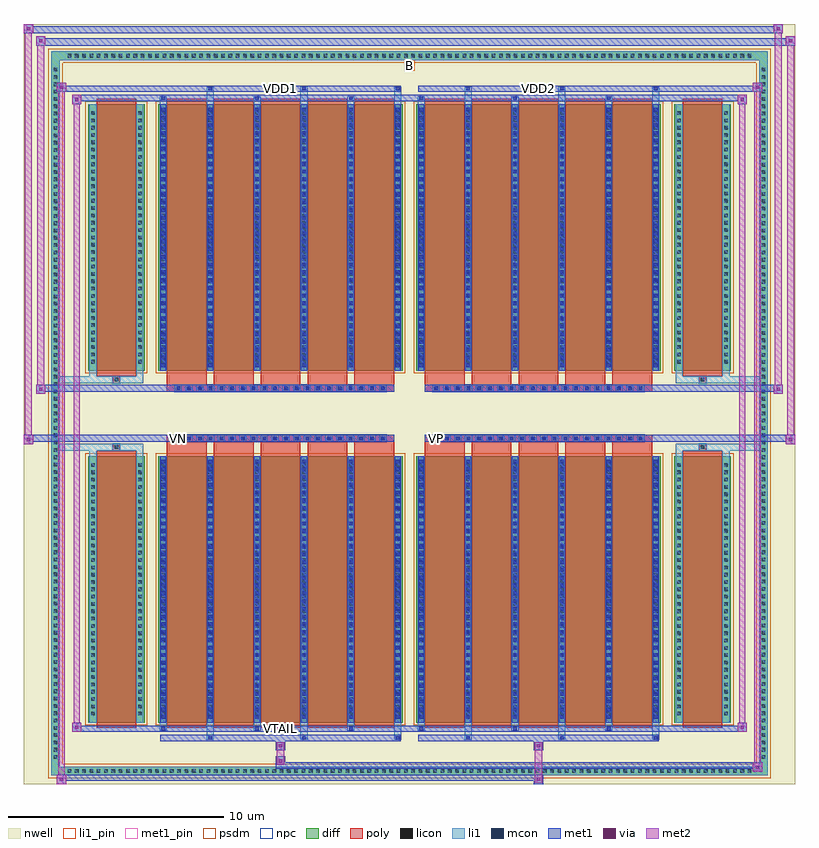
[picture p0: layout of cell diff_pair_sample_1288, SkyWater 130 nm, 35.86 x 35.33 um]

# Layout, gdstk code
import gdstk
lib = gdstk.Library(unit=1e-6, precision=5e-09)
def R(c, l, rs):  # rectangles x0, y0, x1, y1
    for r in rs: c.add(gdstk.rectangle(r[:2], r[2:], *l))
def A(c, l, x, y, w, h, nx, ny, dx, dy):  # array of equal rectangles
    R(c, l, [(x+i*dx, y+j*dy, x+i*dx+w, y+j*dy+h) for i in range(nx) for j in range(ny)])
def P(c, l, *ps):  # polygons
    for p in ps: c.add(gdstk.Polygon(p, *l))
nwell = (64, 20)
diff = (65, 20)
poly = (66, 20)
licon = (66, 44)
li1_pin = (67, 16)
li1 = (67, 20)
mcon = (67, 44)
met1_pin = (68, 16)
met1 = (68, 20)
via = (68, 44)
met2 = (69, 20)
psdm = (94, 20)
npc = (95, 20)

diff_pair_sample_1288 = lib.new_cell('diff_pair_sample_1288')
R(diff_pair_sample_1288, nwell, [(-17.93,-17.23,17.93,18.1), (-15.25,-15.42,-0.01,-0.8), (0.01,-15.42,15.25,-0.8), (-15.25,0.8,-0.01,15.42), (0.01,0.8,15.25,15.42)])
A(diff_pair_sample_1288, diff, -16.015, -16.83, 0.41, 0.41, 94, 2, 0.34, 33.25)
A(diff_pair_sample_1288, diff, -16.66, -16.185, 0.41, 0.41, 1, 95, 0, 0.34)
A(diff_pair_sample_1288, diff, 16.25, -16.185, 0.41, 0.41, 1, 95, 0, 0.34)
R(diff_pair_sample_1288, diff, [(-16.015,-16.83,16.015,-16.42), (-16.66,-16.185,-16.25,16.185), (16.25,-16.185,16.66,16.185), (-14.94,-14.375,-12.31,-1.985), (-11.67,-14.375,-0.32,-1.985), (0.32,-14.375,11.67,-1.985), (12.31,-14.375,14.94,-1.985), (-14.94,1.985,-12.31,14.375), (-11.67,1.985,-0.32,14.375), (0.32,1.985,11.67,14.375), (12.31,1.985,14.94,14.375), (-16.015,16.42,16.015,16.83)])
P(diff_pair_sample_1288, diff, [(16.66,16.83),(-16.66,16.83),(-16.66,-16.42),(-16.25,-16.42),(-16.25,16.42),(16.25,16.42),(16.25,-16.42),(-16.25,-16.42),(-16.66,-16.42),(-16.66,-16.83),(16.66,-16.83)])
A(diff_pair_sample_1288, poly, -11.28, -14.625, 1.85, 12.89, 5, 2, 2.18, 16.36)
A(diff_pair_sample_1288, poly, 0.71, -14.625, 1.85, 12.89, 5, 2, 2.18, 16.36)
A(diff_pair_sample_1288, poly, -11.28, -1.735, 1.85, 0.405, 5, 2, 2.18, 3.065)
A(diff_pair_sample_1288, poly, 0.71, -1.735, 1.85, 0.405, 5, 2, 2.18, 3.065)
A(diff_pair_sample_1288, poly, -10.91, -1.33, 0.33, 0.33, 20, 2, 0.5, 2.33)
A(diff_pair_sample_1288, poly, 1.08, -1.33, 0.33, 0.33, 20, 2, 0.5, 2.33)
R(diff_pair_sample_1288, poly, [(-14.55,-14.625,-12.7,-1.735), (12.7,-14.625,14.55,-1.735), (-13.79,-1.735,-13.46,-1.405), (-13.79,-1.735,-13.46,-1.405), (13.46,-1.735,13.79,-1.405), (13.46,-1.735,13.79,-1.405), (-11.28,-1.33,-0.71,-1), (0.71,-1.33,11.28,-1), (-11.28,1,-0.71,1.33), (0.71,1,11.28,1.33), (-13.79,1.405,-13.46,1.735), (-13.79,1.405,-13.46,1.735), (13.46,1.405,13.79,1.735), (13.46,1.405,13.79,1.735), (-14.55,1.735,-12.7,14.625), (12.7,1.735,14.55,14.625)])
A(diff_pair_sample_1288, licon, -15.895, -16.71, 0.17, 0.17, 94, 2, 0.34, 33.25)
A(diff_pair_sample_1288, licon, -16.54, -16.065, 0.17, 0.17, 1, 95, 0, 0.34)
A(diff_pair_sample_1288, licon, 16.37, -16.065, 0.17, 0.17, 1, 95, 0, 0.34)
A(diff_pair_sample_1288, licon, -14.8, -14.045, 0.17, 0.17, 1, 35, 0, 0.34)
A(diff_pair_sample_1288, licon, -12.62, -14.045, 0.17, 0.17, 1, 35, 0, 0.34)
A(diff_pair_sample_1288, licon, -11.53, -14.045, 0.17, 0.17, 6, 35, 2.18, 0.34)
A(diff_pair_sample_1288, licon, 0.46, -14.045, 0.17, 0.17, 6, 35, 2.18, 0.34)
A(diff_pair_sample_1288, licon, 12.45, -14.045, 0.17, 0.17, 1, 35, 0, 0.34)
A(diff_pair_sample_1288, licon, 14.63, -14.045, 0.17, 0.17, 1, 35, 0, 0.34)
A(diff_pair_sample_1288, licon, -10.83, -1.25, 0.17, 0.17, 20, 2, 0.5, 2.33)
A(diff_pair_sample_1288, licon, 1.16, -1.25, 0.17, 0.17, 20, 2, 0.5, 2.33)
A(diff_pair_sample_1288, licon, -14.8, 2.315, 0.17, 0.17, 1, 35, 0, 0.34)
A(diff_pair_sample_1288, licon, -12.62, 2.315, 0.17, 0.17, 1, 35, 0, 0.34)
A(diff_pair_sample_1288, licon, -11.53, 2.315, 0.17, 0.17, 6, 35, 2.18, 0.34)
A(diff_pair_sample_1288, licon, 0.46, 2.315, 0.17, 0.17, 6, 35, 2.18, 0.34)
A(diff_pair_sample_1288, licon, 12.45, 2.315, 0.17, 0.17, 1, 35, 0, 0.34)
A(diff_pair_sample_1288, licon, 14.63, 2.315, 0.17, 0.17, 1, 35, 0, 0.34)
R(diff_pair_sample_1288, licon, [(-13.71,-1.655,-13.54,-1.485), (13.54,-1.655,13.71,-1.485), (-13.71,1.485,-13.54,1.655), (13.54,1.485,13.71,1.655)])
R(diff_pair_sample_1288, li1_pin, [(-0.25,15.92,0.25,16.42)])
A(diff_pair_sample_1288, li1, -15.975, -16.79, 0.33, 0.33, 94, 2, 0.34, 33.25)
A(diff_pair_sample_1288, li1, -16.62, -16.145, 0.33, 0.33, 1, 95, 0, 0.34)
A(diff_pair_sample_1288, li1, 16.29, -16.145, 0.33, 0.33, 1, 95, 0, 0.34)
A(diff_pair_sample_1288, li1, -9.43, -15.18, 0.33, 0.805, 3, 2, 4.36, 29.555)
A(diff_pair_sample_1288, li1, -9.35, -15.18, 0.17, 0.17, 3, 2, 4.36, 30.19)
A(diff_pair_sample_1288, li1, 2.56, -15.18, 0.33, 0.805, 3, 2, 4.36, 29.555)
A(diff_pair_sample_1288, li1, 2.64, -15.18, 0.17, 0.17, 3, 2, 4.36, 30.19)
A(diff_pair_sample_1288, li1, -11.61, -14.75, 0.33, 0.375, 3, 2, 4.36, 29.125)
A(diff_pair_sample_1288, li1, -11.53, -14.75, 0.17, 0.17, 3, 2, 4.36, 29.33)
A(diff_pair_sample_1288, li1, 0.38, -14.75, 0.33, 0.375, 3, 2, 4.36, 29.125)
A(diff_pair_sample_1288, li1, 0.46, -14.75, 0.17, 0.17, 3, 2, 4.36, 29.33)
A(diff_pair_sample_1288, li1, -11.61, -14.375, 0.33, 12.39, 6, 2, 2.18, 16.36)
A(diff_pair_sample_1288, li1, 0.38, -14.375, 0.33, 12.39, 6, 2, 2.18, 16.36)
A(diff_pair_sample_1288, li1, -11.53, -14.205, 0.17, 0.17, 6, 34, 2.18, 0.36)
A(diff_pair_sample_1288, li1, -11.53, -14.205, 0.17, 12.05, 6, 2, 2.18, 16.36)
A(diff_pair_sample_1288, li1, 0.46, -14.205, 0.17, 0.17, 6, 34, 2.18, 0.36)
A(diff_pair_sample_1288, li1, 0.46, -14.205, 0.17, 12.05, 6, 2, 2.18, 16.36)
A(diff_pair_sample_1288, li1, -14.88, -14.125, 0.33, 0.33, 1, 35, 0, 0.34)
A(diff_pair_sample_1288, li1, -12.7, -14.125, 0.33, 0.33, 1, 35, 0, 0.34)
A(diff_pair_sample_1288, li1, -11.61, -14.125, 0.33, 0.33, 6, 35, 2.18, 0.34)
A(diff_pair_sample_1288, li1, 0.38, -14.125, 0.33, 0.33, 6, 35, 2.18, 0.34)
A(diff_pair_sample_1288, li1, 12.37, -14.125, 0.33, 0.33, 1, 35, 0, 0.34)
A(diff_pair_sample_1288, li1, 14.55, -14.125, 0.33, 0.33, 1, 35, 0, 0.34)
A(diff_pair_sample_1288, li1, -10.91, -1.33, 0.33, 0.33, 20, 2, 0.5, 2.33)
A(diff_pair_sample_1288, li1, 1.08, -1.33, 0.33, 0.33, 20, 2, 0.5, 2.33)
A(diff_pair_sample_1288, li1, -11.53, 2.155, 0.17, 0.17, 6, 34, 2.18, 0.36)
A(diff_pair_sample_1288, li1, 0.46, 2.155, 0.17, 0.17, 6, 34, 2.18, 0.36)
A(diff_pair_sample_1288, li1, -14.88, 2.235, 0.33, 0.33, 1, 35, 0, 0.34)
A(diff_pair_sample_1288, li1, -12.7, 2.235, 0.33, 0.33, 1, 35, 0, 0.34)
A(diff_pair_sample_1288, li1, -11.61, 2.235, 0.33, 0.33, 6, 35, 2.18, 0.34)
A(diff_pair_sample_1288, li1, 0.38, 2.235, 0.33, 0.33, 6, 35, 2.18, 0.34)
A(diff_pair_sample_1288, li1, 12.37, 2.235, 0.33, 0.33, 1, 35, 0, 0.34)
A(diff_pair_sample_1288, li1, 14.55, 2.235, 0.33, 0.33, 1, 35, 0, 0.34)
R(diff_pair_sample_1288, li1, [(-16.66,-16.83,-16.25,-16.42), (-16.66,-16.83,-16.25,-16.42), (-16.25,-16.83,16.25,-16.42), (16.25,-16.83,16.66,-16.42), (16.25,-16.83,16.66,-16.42), (-16.66,-16.42,-16.25,16.42), (16.25,-16.42,16.66,16.42), (-14.88,-14.375,-14.55,-1.985), (-12.7,-14.375,-12.37,-1.985), (12.37,-14.375,12.7,-1.985), (14.55,-14.375,14.88,-1.985), (-14.88,-1.985,-14.55,-1.405), (-12.7,-1.985,-12.37,-1.405), (12.37,-1.985,12.7,-1.405), (14.55,-1.985,14.88,-1.405), (-16.66,-1.735,-13.79,-1.405), (-14.88,-1.735,-13.79,-1.405), (-13.79,-1.735,-13.46,-1.405), (-13.46,-1.735,-12.37,-1.405), (12.37,-1.735,13.46,-1.405), (13.46,-1.735,13.79,-1.405), (13.46,-1.735,16.66,-1.405), (13.79,-1.735,14.88,-1.405), (-16.66,1.405,-13.79,1.735), (-14.88,1.405,-13.79,1.735), (-14.88,1.405,-14.55,1.985), (-13.79,1.405,-13.46,1.735), (-13.46,1.405,-12.37,1.735), (-12.7,1.405,-12.37,1.985), (12.37,1.405,13.46,1.735), (12.37,1.405,12.7,1.985), (13.46,1.405,13.79,1.735), (13.46,1.405,16.66,1.735), (13.79,1.405,14.88,1.735), (14.55,1.405,14.88,1.985), (-14.88,1.985,-14.55,14.375), (-12.7,1.985,-12.37,14.375), (12.37,1.985,12.7,14.375), (14.55,1.985,14.88,14.375), (-16.66,16.42,-16.25,16.83), (-16.66,16.42,-16.25,16.83), (-16.25,16.42,16.25,16.83), (16.25,16.42,16.66,16.83), (16.25,16.42,16.66,16.83)])
A(diff_pair_sample_1288, mcon, -9.35, -15.18, 0.17, 0.17, 3, 2, 4.36, 30.19)
A(diff_pair_sample_1288, mcon, 2.64, -15.18, 0.17, 0.17, 3, 2, 4.36, 30.19)
A(diff_pair_sample_1288, mcon, -11.53, -14.75, 0.17, 0.17, 3, 2, 4.36, 29.33)
A(diff_pair_sample_1288, mcon, 0.46, -14.75, 0.17, 0.17, 3, 2, 4.36, 29.33)
A(diff_pair_sample_1288, mcon, -11.53, -14.205, 0.17, 0.17, 6, 34, 2.18, 0.36)
A(diff_pair_sample_1288, mcon, 0.46, -14.205, 0.17, 0.17, 6, 34, 2.18, 0.36)
A(diff_pair_sample_1288, mcon, -10.83, -1.25, 0.17, 0.17, 20, 2, 0.5, 2.33)
A(diff_pair_sample_1288, mcon, 1.16, -1.25, 0.17, 0.17, 20, 2, 0.5, 2.33)
A(diff_pair_sample_1288, mcon, -11.53, 2.155, 0.17, 0.17, 6, 34, 2.18, 0.36)
A(diff_pair_sample_1288, mcon, 0.46, 2.155, 0.17, 0.17, 6, 34, 2.18, 0.36)
R(diff_pair_sample_1288, met1_pin, [(-6.13,-14.79,-5.86,-14.52), (-10.88,-1.29,-10.61,-1.02), (1.11,-1.29,1.38,-1.02), (-6.13,14.97,-5.86,15.24), (5.86,14.97,6.13,15.24)])
A(diff_pair_sample_1288, met1, -9.41, -15.24, 0.29, 0.29, 3, 2, 4.36, 30.19)
A(diff_pair_sample_1288, met1, 2.58, -15.24, 0.29, 0.29, 3, 2, 4.36, 30.19)
A(diff_pair_sample_1288, met1, -11.59, -14.81, 0.29, 0.29, 3, 2, 4.36, 29.33)
A(diff_pair_sample_1288, met1, 0.4, -14.81, 0.29, 0.29, 3, 2, 4.36, 29.33)
A(diff_pair_sample_1288, met1, -11.59, -14.375, 0.29, 12.39, 6, 2, 2.18, 16.36)
A(diff_pair_sample_1288, met1, 0.4, -14.375, 0.29, 12.39, 6, 2, 2.18, 16.36)
A(diff_pair_sample_1288, met1, -11.59, -14.265, 0.29, 0.29, 6, 34, 2.18, 0.36)
A(diff_pair_sample_1288, met1, 0.4, -14.265, 0.29, 0.29, 6, 34, 2.18, 0.36)
A(diff_pair_sample_1288, met1, -10.89, -1.31, 0.29, 0.29, 20, 2, 0.5, 2.33)
A(diff_pair_sample_1288, met1, 1.1, -1.31, 0.29, 0.29, 20, 2, 0.5, 2.33)
A(diff_pair_sample_1288, met1, -11.59, 2.095, 0.29, 0.29, 6, 34, 2.18, 0.36)
A(diff_pair_sample_1288, met1, 0.4, 2.095, 0.29, 0.29, 6, 34, 2.18, 0.36)
R(diff_pair_sample_1288, met1, [(-16.39,-17.23,-15.96,-16.8), (5.78,-17.23,6.21,-16.8), (-16.39,-17.09,6.21,-16.8), (15.96,-16.66,16.39,-16.23), (-6.21,-16.52,16.39,-16.23), (-6.21,-16.38,-5.78,-15.95), (-6.21,-15.67,-5.78,-15.24), (5.78,-15.67,6.21,-15.24), (-11.59,-15.24,-0.4,-14.95), (0.4,-15.24,11.59,-14.95), (-15.68,-14.81,-15.25,-14.38), (-15.68,-14.81,-11.59,-14.52), (-11.59,-14.81,-0.4,-14.52), (-0.4,-14.81,0.4,-14.52), (0.4,-14.81,11.59,-14.52), (11.59,-14.81,15.68,-14.52), (15.25,-14.81,15.68,-14.38), (-17.93,-1.43,-17.5,-1), (17.5,-1.43,17.93,-1), (-17.93,-1.33,-0.71,-1), (-11.28,-1.33,-0.71,-1), (0.71,-1.33,11.28,-1), (0.71,-1.33,17.93,-1), (-17.36,0.9,-16.93,1.33), (16.93,0.9,17.36,1.33), (-17.36,1,-11.28,1.33), (-11.28,1,-0.71,1.33), (0.71,1,11.28,1.33), (11.28,1,17.36,1.33), (-15.68,14.38,-15.25,14.81), (15.25,14.38,15.68,14.81), (-15.68,14.52,-11.59,14.81), (-11.59,14.52,-0.4,14.81), (-0.4,14.52,0.4,14.81), (0.4,14.52,11.59,14.81), (11.59,14.52,15.68,14.81), (-16.39,14.95,-15.96,15.38), (-16.39,14.95,-11.59,15.24), (-11.59,14.95,-0.4,15.24), (0.4,14.95,11.59,15.24), (11.59,14.95,16.39,15.24), (15.96,14.95,16.39,15.38), (-17.36,17.1,-16.93,17.53), (-17.36,17.1,-15.25,17.43), (-15.25,17.1,15.25,17.43), (15.25,17.1,17.93,17.43), (17.5,17.1,17.93,17.53), (-17.93,17.67,-17.5,18.1), (-17.93,17.67,-15.25,18), (-15.25,17.67,15.25,18), (15.25,17.67,17.36,18), (16.93,17.67,17.36,18.1)])
R(diff_pair_sample_1288, via, [(-16.25,-17.09,-16.1,-16.94), (5.92,-17.09,6.07,-16.94), (16.1,-16.52,16.25,-16.37), (-6.07,-16.24,-5.92,-16.09), (-6.07,-15.53,-5.92,-15.38), (5.92,-15.53,6.07,-15.38), (-15.54,-14.67,-15.39,-14.52), (15.39,-14.67,15.54,-14.52), (-17.79,-1.29,-17.64,-1.14), (17.64,-1.29,17.79,-1.14), (-17.22,1.04,-17.07,1.19), (17.07,1.04,17.22,1.19), (-15.54,14.52,-15.39,14.67), (15.39,14.52,15.54,14.67), (-16.25,15.09,-16.1,15.24), (16.1,15.09,16.25,15.24), (-17.22,17.24,-17.07,17.39), (17.64,17.24,17.79,17.39), (-17.79,17.81,-17.64,17.96), (17.07,17.81,17.22,17.96)])
R(diff_pair_sample_1288, met2, [(-16.39,-17.23,-15.96,-16.8), (-16.32,-17.23,-16.03,15.38), (-16.03,-17.23,-15.96,-16.8), (-16.34,-17.18,-16.01,-16.85), (5.83,-17.18,6.16,-16.85), (5.83,-16.85,6.16,-15.62), (15.96,-16.66,16.39,-16.23), (16.03,-16.66,16.32,15.38), (16.32,-16.66,16.39,-16.23), (16.01,-16.61,16.34,-16.28), (-6.16,-16.33,-5.83,-16), (-6.16,-16,-5.83,-15.62), (-6.16,-15.62,-5.83,-15.29), (5.83,-15.62,6.16,-15.29), (-15.68,-14.81,-15.25,-14.38), (-15.61,-14.81,-15.32,14.81), (-15.32,-14.81,-15.25,-14.38), (15.25,-14.81,15.68,-14.38), (15.32,-14.81,15.61,14.81), (15.61,-14.81,15.68,-14.38), (-15.63,-14.76,-15.3,-14.43), (15.3,-14.76,15.63,-14.43), (-17.93,-1.43,-17.5,-1), (-17.88,-1.43,-17.55,18.1), (-17.55,-1.43,-17.5,-1), (17.5,-1.43,17.93,-1), (17.55,-1.43,17.88,17.53), (17.88,-1.43,17.93,-1), (-17.88,-1.38,-17.55,-1.05), (17.55,-1.38,17.88,-1.05), (-17.36,0.9,-16.93,1.33), (-17.31,0.9,-16.98,17.53), (-16.98,0.9,-16.93,1.33), (16.93,0.9,17.36,1.33), (16.98,0.9,17.31,18.1), (17.31,0.9,17.36,1.33), (-17.31,0.95,-16.98,1.28), (16.98,0.95,17.31,1.28), (-15.68,14.38,-15.25,14.81), (-15.32,14.38,-15.25,14.81), (15.25,14.38,15.68,14.81), (15.61,14.38,15.68,14.81), (-15.63,14.43,-15.3,14.76), (15.3,14.43,15.63,14.76), (-16.39,14.95,-15.96,15.38), (-16.03,14.95,-15.96,15.38), (15.96,14.95,16.39,15.38), (16.32,14.95,16.39,15.38), (-16.34,15,-16.01,15.33), (16.01,15,16.34,15.33), (-17.36,17.1,-16.93,17.53), (-16.98,17.1,-16.93,17.53), (17.5,17.1,17.93,17.53), (17.88,17.1,17.93,17.53), (-17.31,17.15,-16.98,17.48), (17.55,17.15,17.88,17.48), (-17.93,17.67,-17.5,18.1), (-17.55,17.67,-17.5,18.1), (16.93,17.67,17.36,18.1), (17.31,17.67,17.36,18.1), (-17.88,17.72,-17.55,18.05), (16.98,17.72,17.31,18.05)])
R(diff_pair_sample_1288, psdm, [(-15.07,-14.505,-12.18,-1.855), (-11.8,-14.505,-0.19,-1.855), (0.19,-14.505,11.8,-1.855), (12.18,-14.505,15.07,-1.855), (-15.07,1.855,-12.18,14.505), (-11.8,1.855,-0.19,14.505), (0.19,1.855,11.8,14.505), (12.18,1.855,15.07,14.505)])
P(diff_pair_sample_1288, psdm, [(16.79,16.96),(-16.79,16.96),(-16.79,-16.29),(-16.12,-16.29),(-16.12,16.29),(16.12,16.29),(16.12,-16.29),(-16.12,-16.29),(-16.79,-16.29),(-16.79,-16.96),(16.79,-16.96)])
A(diff_pair_sample_1288, npc, -10.93, -1.35, 0.37, 0.37, 20, 2, 0.5, 2.33)
A(diff_pair_sample_1288, npc, 1.06, -1.35, 0.37, 0.37, 20, 2, 0.5, 2.33)
R(diff_pair_sample_1288, npc, [(-13.81,-1.755,-13.44,-1.385), (13.44,-1.755,13.81,-1.385), (-10.93,-1.35,-10.06,-0.98), (-10.93,-1.35,-10.06,-0.98), (-10.43,-1.35,-9.56,-0.98), (-10.43,-1.35,-9.56,-0.98), (-9.93,-1.35,-9.06,-0.98), (-9.93,-1.35,-9.06,-0.98), (-9.43,-1.35,-8.56,-0.98), (-9.43,-1.35,-8.56,-0.98), (-8.93,-1.35,-8.06,-0.98), (-8.93,-1.35,-8.06,-0.98), (-8.43,-1.35,-7.56,-0.98), (-8.43,-1.35,-7.56,-0.98), (-7.93,-1.35,-7.06,-0.98), (-7.93,-1.35,-7.06,-0.98), (-7.43,-1.35,-6.56,-0.98), (-7.43,-1.35,-6.56,-0.98), (-6.93,-1.35,-6.06,-0.98), (-6.93,-1.35,-6.06,-0.98), (-6.43,-1.35,-5.56,-0.98), (-6.43,-1.35,-5.56,-0.98), (-5.93,-1.35,-5.06,-0.98), (-5.93,-1.35,-5.06,-0.98), (-5.43,-1.35,-4.56,-0.98), (-5.43,-1.35,-4.56,-0.98), (-4.93,-1.35,-4.06,-0.98), (-4.93,-1.35,-4.06,-0.98), (-4.43,-1.35,-3.56,-0.98), (-4.43,-1.35,-3.56,-0.98), (-3.93,-1.35,-3.06,-0.98), (-3.93,-1.35,-3.06,-0.98), (-3.43,-1.35,-2.56,-0.98), (-3.43,-1.35,-2.56,-0.98), (-2.93,-1.35,-2.06,-0.98), (-2.93,-1.35,-2.06,-0.98), (-2.43,-1.35,-1.56,-0.98), (-2.43,-1.35,-1.56,-0.98), (-1.93,-1.35,-1.06,-0.98), (-1.93,-1.35,-1.06,-0.98), (1.06,-1.35,1.93,-0.98), (1.06,-1.35,1.93,-0.98), (1.56,-1.35,2.43,-0.98), (1.56,-1.35,2.43,-0.98), (2.06,-1.35,2.93,-0.98), (2.06,-1.35,2.93,-0.98), (2.56,-1.35,3.43,-0.98), (2.56,-1.35,3.43,-0.98), (3.06,-1.35,3.93,-0.98), (3.06,-1.35,3.93,-0.98), (3.56,-1.35,4.43,-0.98), (3.56,-1.35,4.43,-0.98), (4.06,-1.35,4.93,-0.98), (4.06,-1.35,4.93,-0.98), (4.56,-1.35,5.43,-0.98), (4.56,-1.35,5.43,-0.98), (5.06,-1.35,5.93,-0.98), (5.06,-1.35,5.93,-0.98), (5.56,-1.35,6.43,-0.98), (5.56,-1.35,6.43,-0.98), (6.06,-1.35,6.93,-0.98), (6.06,-1.35,6.93,-0.98), (6.56,-1.35,7.43,-0.98), (6.56,-1.35,7.43,-0.98), (7.06,-1.35,7.93,-0.98), (7.06,-1.35,7.93,-0.98), (7.56,-1.35,8.43,-0.98), (7.56,-1.35,8.43,-0.98), (8.06,-1.35,8.93,-0.98), (8.06,-1.35,8.93,-0.98), (8.56,-1.35,9.43,-0.98), (8.56,-1.35,9.43,-0.98), (9.06,-1.35,9.93,-0.98), (9.06,-1.35,9.93,-0.98), (9.56,-1.35,10.43,-0.98), (9.56,-1.35,10.43,-0.98), (10.06,-1.35,10.93,-0.98), (10.06,-1.35,10.93,-0.98), (-10.93,0.98,-10.06,1.35), (-10.93,0.98,-10.06,1.35), (-10.43,0.98,-9.56,1.35), (-10.43,0.98,-9.56,1.35), (-9.93,0.98,-9.06,1.35), (-9.93,0.98,-9.06,1.35), (-9.43,0.98,-8.56,1.35), (-9.43,0.98,-8.56,1.35), (-8.93,0.98,-8.06,1.35), (-8.93,0.98,-8.06,1.35), (-8.43,0.98,-7.56,1.35), (-8.43,0.98,-7.56,1.35), (-7.93,0.98,-7.06,1.35), (-7.93,0.98,-7.06,1.35), (-7.43,0.98,-6.56,1.35), (-7.43,0.98,-6.56,1.35), (-6.93,0.98,-6.06,1.35), (-6.93,0.98,-6.06,1.35), (-6.43,0.98,-5.56,1.35), (-6.43,0.98,-5.56,1.35), (-5.93,0.98,-5.06,1.35), (-5.93,0.98,-5.06,1.35), (-5.43,0.98,-4.56,1.35), (-5.43,0.98,-4.56,1.35), (-4.93,0.98,-4.06,1.35), (-4.93,0.98,-4.06,1.35), (-4.43,0.98,-3.56,1.35), (-4.43,0.98,-3.56,1.35), (-3.93,0.98,-3.06,1.35), (-3.93,0.98,-3.06,1.35), (-3.43,0.98,-2.56,1.35), (-3.43,0.98,-2.56,1.35), (-2.93,0.98,-2.06,1.35), (-2.93,0.98,-2.06,1.35), (-2.43,0.98,-1.56,1.35), (-2.43,0.98,-1.56,1.35), (-1.93,0.98,-1.06,1.35), (-1.93,0.98,-1.06,1.35), (1.06,0.98,1.93,1.35), (1.06,0.98,1.93,1.35), (1.56,0.98,2.43,1.35), (1.56,0.98,2.43,1.35), (2.06,0.98,2.93,1.35), (2.06,0.98,2.93,1.35), (2.56,0.98,3.43,1.35), (2.56,0.98,3.43,1.35), (3.06,0.98,3.93,1.35), (3.06,0.98,3.93,1.35), (3.56,0.98,4.43,1.35), (3.56,0.98,4.43,1.35), (4.06,0.98,4.93,1.35), (4.06,0.98,4.93,1.35), (4.56,0.98,5.43,1.35), (4.56,0.98,5.43,1.35), (5.06,0.98,5.93,1.35), (5.06,0.98,5.93,1.35), (5.56,0.98,6.43,1.35), (5.56,0.98,6.43,1.35), (6.06,0.98,6.93,1.35), (6.06,0.98,6.93,1.35), (6.56,0.98,7.43,1.35), (6.56,0.98,7.43,1.35), (7.06,0.98,7.93,1.35), (7.06,0.98,7.93,1.35), (7.56,0.98,8.43,1.35), (7.56,0.98,8.43,1.35), (8.06,0.98,8.93,1.35), (8.06,0.98,8.93,1.35), (8.56,0.98,9.43,1.35), (8.56,0.98,9.43,1.35), (9.06,0.98,9.93,1.35), (9.06,0.98,9.93,1.35), (9.56,0.98,10.43,1.35), (9.56,0.98,10.43,1.35), (10.06,0.98,10.93,1.35), (10.06,0.98,10.93,1.35), (-13.81,1.385,-13.44,1.755), (13.44,1.385,13.81,1.755)])
diff_pair_sample_1288.add(gdstk.Label('VTAIL', (-5.995,-14.655), layer=68, texttype=5))
diff_pair_sample_1288.add(gdstk.Label('VN', (-10.745,-1.155), layer=68, texttype=5))
diff_pair_sample_1288.add(gdstk.Label('VP', (1.245,-1.155), layer=68, texttype=5))
diff_pair_sample_1288.add(gdstk.Label('B', (0,16.17), layer=67, texttype=5))
diff_pair_sample_1288.add(gdstk.Label('VDD2', (5.995,15.105), layer=68, texttype=5))
diff_pair_sample_1288.add(gdstk.Label('VDD1', (-5.995,15.105), layer=68, texttype=5))

lib.write_gds('diff_pair_sample_1288.gds')
